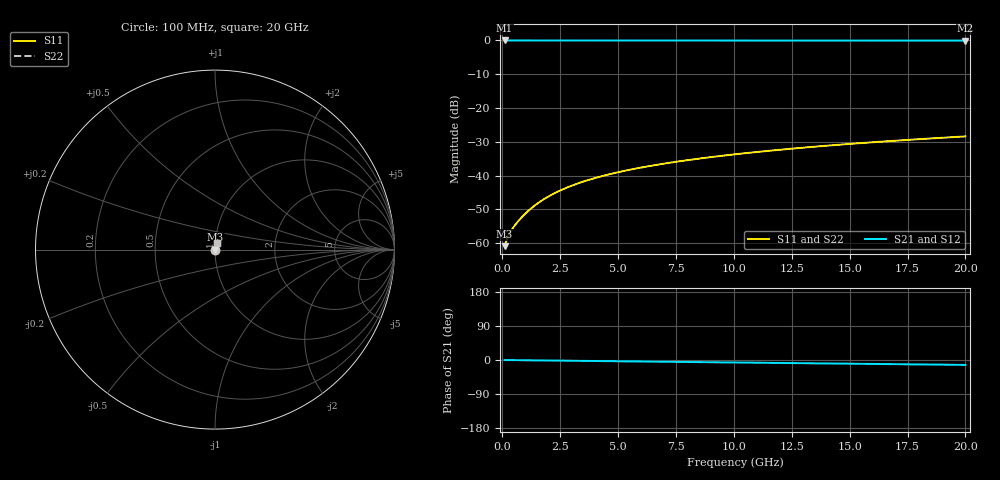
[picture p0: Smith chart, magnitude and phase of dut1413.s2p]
! Touchstone file exported from HFSS 2026.1.0
!  File:  C:/ffzhzh/LocalFiles/Ansys_Project_Files/temp_train_BSMRDL_1413_1783180075_22436.aedt
!  Generated:  11:49:03 PM Jul  4, 2026
!  Design:  BSMRDL
!  Project:  temp_train_BSMRDL_1413_1783180075_22436
! Variables:
!  h_bsmrdl = 4.46um
!  h_ox = 20um
!  h_rdl = 5um
!  h_sub = 80um
!  h_tmrdl = 5um
!  h_tsv = 80um
!  h_via = 3um
!  l_bsmrdl = 209.6um
!  l_sub = 609.6um
!  l_tmrdl = 200um
!  m_sub = 200um
!  pitch = 36.4um
!  r_tsv = 6um
!  s_tmrdl = 10um
!  w_bsmrdl = 28.53um
!  w_sub = 500um
!  w_tmrdl = 12um
!  x_tsv_center1 = 206um
!  x_tsv_center2 = 444.13um
!  x_tsv_center3 = 656.13um
!  x_tsv_center4 = 894.26um
!  x_tsv_center5 = 1106.26um
!  x_tsv_center6 = 1344.39um
# GHz S MA R 50.000000
! Terminal data exported
! Port[1] = BSM_RDL1_1_T1
! Port[2] = BSM_RDL1_1_T2
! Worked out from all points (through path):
!   200 points, 100 MHz to 20 GHz, reference 50 ohm
!   highest |S21| = -0.01 dB at 100 MHz (marker M1); lowest = -0.1 dB at 20 GHz (marker M2)
!   group delay of S21, straight-line fit = 1.79 ps
!   lowest |S11| = -60.9 dB at 100 MHz (marker M3), VSWR 1.00, Z = 50.1 + j0.0382 ohm
!   |S11| at or under -10 dB: start of sweep to end of sweep
!   |S22| runs from -60.9 to -28.4 dB; largest |S21 - S12| = 3.4e-15
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0.1  0.0008997 25.1  0.9992 -0.1  0.9992 -0.1  0.0008997 25.1
! Gamma 0 0 0 0
! Port Impedance 50 0 50 0
0.2  0.001147 36.2  0.9991 -0.1  0.9991 -0.1  0.001147 36.2
0.3  0.001367 42.0  0.999 -0.2  0.999 -0.2  0.001367 42.0
0.4  0.001562 46.3  0.9989 -0.3  0.9989 -0.3  0.001562 46.3
0.5  0.00175 50.1  0.9989 -0.3  0.9989 -0.3  0.00175 50.1
0.7  0.002133 56.3  0.9988 -0.5  0.9988 -0.5  0.002133 56.3
0.9  0.002534 60.8  0.9988 -0.6  0.9988 -0.6  0.002534 60.8
1.3  0.003379 66.7  0.9987 -0.9  0.9987 -0.9  0.003379 66.7
1.5  0.003813 68.5  0.9987 -1.0  0.9987 -1.0  0.003813 68.5
1.8  0.004469 70.5  0.9986 -1.2  0.9986 -1.2  0.00447 70.5
2.3  0.005565 72.5  0.9984 -1.5  0.9984 -1.5  0.005565 72.5
2.9  0.006864 73.6  0.9983 -1.9  0.9983 -1.9  0.006864 73.6
3.5  0.008136 74.1  0.9981 -2.3  0.9981 -2.3  0.008136 74.1
4.2  0.009582 74.3  0.9978 -2.8  0.9978 -2.8  0.009582 74.3
5  0.01119 74.3  0.9975 -3.3  0.9975 -3.3  0.01119 74.3
5.9  0.01294 74.2  0.9972 -3.9  0.9972 -3.9  0.01294 74.2
6.8  0.01465 74.0  0.997 -4.5  0.997 -4.5  0.01466 74.0
8.3  0.01744 73.6  0.9965 -5.5  0.9965 -5.5  0.01744 73.6
10.1  0.02071 73.0  0.9961 -6.6  0.9961 -6.6  0.02071 73.0
13.4  0.02657 71.9  0.9953 -8.7  0.9953 -8.7  0.02658 71.8
16.7  0.03231 70.5  0.9946 -10.8  0.9946 -10.8  0.03232 70.4
20  0.03795 68.9  0.9939 -12.9  0.9939 -12.9  0.03795 68.9
